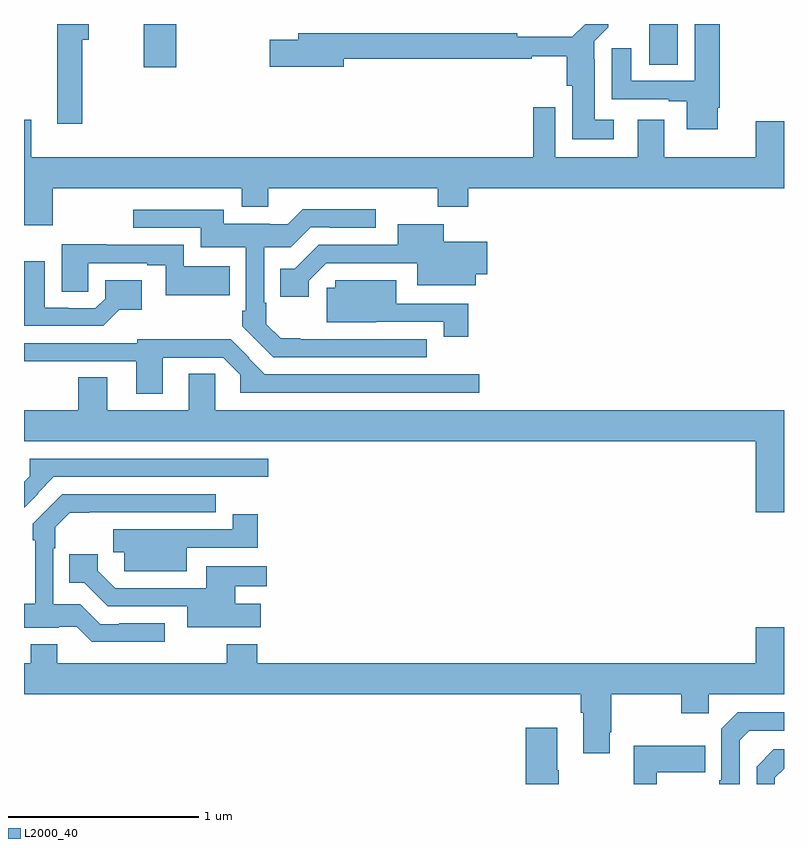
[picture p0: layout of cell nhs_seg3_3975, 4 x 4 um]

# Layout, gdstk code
import gdstk
lib = gdstk.Library(unit=1e-6, precision=1e-09)
def R(c, l, rs):  # rectangles x0, y0, x1, y1
    for r in rs: c.add(gdstk.rectangle(r[:2], r[2:], *l))
def P(c, l, *ps):  # polygons
    for p in ps: c.add(gdstk.Polygon(p, *l))
L2000_40 = (2000, 40)

nhs_seg3_3975 = lib.new_cell('nhs_seg3_3975')
R(nhs_seg3_3975, L2000_40, [(317.629,748.173,317.802,748.4), (320.291,748.186,320.44,748.4)])
P(nhs_seg3_3975, L2000_40, [(317.306,748.316),(317.34,748.316),(317.34,748.4),(317.174,748.4),(317.174,747.876),(317.306,747.876)],
  [(320.65,747.958),(320.663,747.958),(320.663,748.4),(320.531,748.4),(320.531,748.101),(320.197,748.101),(320.197,748.273),(320.093,748.273),(320.093,748.005),(320.393,748.005),(320.393,747.993),(320.489,747.993),(320.489,747.846),(320.65,747.846)],
  [(320.104,747.895),(320.005,747.895),(320.005,748.214),(320.001,748.214),(320.001,748.308),(320.075,748.382),(320.075,748.4),(319.954,748.4),(319.886,748.332),(319.595,748.332),(319.595,748.352),(318.443,748.352),(318.443,748.316),(318.294,748.316),(318.294,748.174),(318.682,748.174),(318.682,748.216),(319.672,748.216),(319.672,748.231),(319.856,748.231),(319.856,748.074),(319.886,748.074),(319.886,747.794),(320.104,747.794)],
  [(321,747.889),(320.852,747.889),(320.852,747.7),(320.371,747.7),(320.371,747.895),(320.231,747.895),(320.231,747.7),(319.797,747.7),(319.797,747.961),(319.681,747.961),(319.681,747.7),(317.038,747.7),(317.038,747.895),(317,747.895),(317,747.342),(317.151,747.342),(317.151,747.536),(318.146,747.536),(318.146,747.437),(318.286,747.437),(318.286,747.536),(319.177,747.536),(319.177,747.437),(319.337,747.437),(319.337,747.536),(321,747.536)],
  [(319.12,746.742),(318.454,746.742),(318.454,746.745),(318.35,746.745),(318.274,746.82),(318.274,746.932),(318.264,746.932),(318.264,747.225),(318.405,747.225),(318.51,747.33),(318.61,747.33),(318.61,747.327),(318.85,747.327),(318.85,747.424),(318.466,747.424),(318.387,747.345),(318.293,747.345),(318.293,747.349),(318.052,747.349),(318.052,747.423),(317.574,747.423),(317.574,747.327),(317.93,747.327),(317.93,747.224),(318.168,747.224),(318.168,746.89),(318.148,746.89),(318.148,746.809),(318.311,746.646),(319.12,746.646)],
  [(318.499,747.049),(318.591,747.141),(319.07,747.141),(319.07,747.026),(319.378,747.026),(319.378,747.083),(319.438,747.083),(319.438,747.253),(319.21,747.253),(319.21,747.346),(318.968,747.346),(318.968,747.237),(318.551,747.237),(318.426,747.112),(318.349,747.112),(318.349,746.964),(318.499,746.964)],
  [(318.083,747.124),(317.841,747.124),(317.841,747.237),(317.434,747.237),(317.434,747.242),(317.198,747.242),(317.198,746.992),(317.337,746.992),(317.337,747.141),(317.648,747.141),(317.648,747.129),(317.745,747.129),(317.745,746.972),(318.083,746.972)],
  [(317.502,746.897),(317.62,746.897),(317.62,747.052),(317.427,747.052),(317.427,746.955),(317.376,746.904),(317.234,746.904),(317.234,746.907),(317.11,746.907),(317.11,747.151),(317,747.151),(317,746.811),(317.416,746.811)],
  [(319.339,746.928),(318.958,746.928),(318.958,747.052),(318.638,747.052),(318.638,747.012),(318.594,747.012),(318.594,746.831),(318.854,746.831),(318.854,746.832),(319.208,746.832),(319.208,746.754),(319.339,746.754)],
  [(317.731,746.643),(318.048,746.643),(318.139,746.553),(318.139,746.46),(319.396,746.46),(319.396,746.556),(318.267,746.556),(318.182,746.641),(318.185,746.644),(318.087,746.742),(317.595,746.742),(317.595,746.721),(317,746.721),(317,746.625),(317.591,746.625),(317.591,746.454),(317.731,746.454)],
  [(321,746.368),(318.006,746.368),(318.006,746.558),(317.867,746.558),(317.867,746.368),(317.437,746.368),(317.437,746.54),(317.285,746.54),(317.285,746.368),(317,746.368),(317,746.204),(320.852,746.204),(320.852,745.83),(321,745.83)],
  [(317.075,745.928),(317.072,745.931),(317.157,746.016),(318.286,746.016),(318.286,746.112),(317.029,746.112),(317.029,746.02),(317,745.991),(317,745.854)],
  [(317.74,745.245),(317.5,745.245),(317.5,745.242),(317.4,745.242),(317.295,745.347),(317.154,745.347),(317.154,745.64),(317.165,745.64),(317.165,745.752),(317.24,745.828),(317.344,745.828),(317.344,745.83),(318.01,745.83),(318.01,745.926),(317.201,745.926),(317.046,745.771),(317.046,745.682),(317.058,745.682),(317.058,745.348),(317,745.348),(317,745.223),(317.183,745.223),(317.183,745.227),(317.277,745.227),(317.356,745.148),(317.74,745.148)],
  [(317.857,745.644),(318.229,745.644),(318.229,745.819),(318.098,745.819),(318.098,745.74),(317.753,745.74),(317.753,745.741),(317.469,745.741),(317.469,745.619),(317.528,745.619),(317.528,745.52),(317.857,745.52)],
  [(318.247,745.348),(318.113,745.348),(318.113,745.442),(318.277,745.442),(318.277,745.546),(317.96,745.546),(317.96,745.431),(317.481,745.431),(317.389,745.523),(317.389,745.608),(317.239,745.608),(317.239,745.46),(317.316,745.46),(317.441,745.335),(317.858,745.335),(317.858,745.226),(318.247,745.226)],
  [(320.083,744.673),(320.091,744.673),(320.091,744.872),(320.458,744.872),(320.458,744.773),(320.604,744.773),(320.604,744.872),(321,744.872),(321,745.225),(320.852,745.225),(320.852,745.036),(318.227,745.036),(318.227,745.135),(318.067,745.135),(318.067,745.036),(317.176,745.036),(317.176,745.135),(317.036,745.135),(317.036,745.036),(317,745.036),(317,744.872),(319.931,744.872),(319.931,744.776),(319.943,744.776),(319.943,744.561),(320.083,744.561)],
  [(320.766,744.63),(320.817,744.681),(321,744.681),(321,744.777),(320.757,744.777),(320.67,744.69),(320.67,744.421),(320.658,744.421),(320.658,744.4),(320.766,744.4)],
  [(319.815,744.473),(319.807,744.473),(319.807,744.697),(319.64,744.697),(319.64,744.4),(319.815,744.4)],
  [(320.329,744.461),(320.585,744.461),(320.585,744.601),(320.208,744.601),(320.208,744.4),(320.329,744.4)],
  [(320.952,744.432),(321,744.48),(321,744.582),(320.946,744.582),(320.856,744.492),(320.856,744.4),(320.952,744.4)])

lib.write_gds('nhs_seg3_3975.gds')
